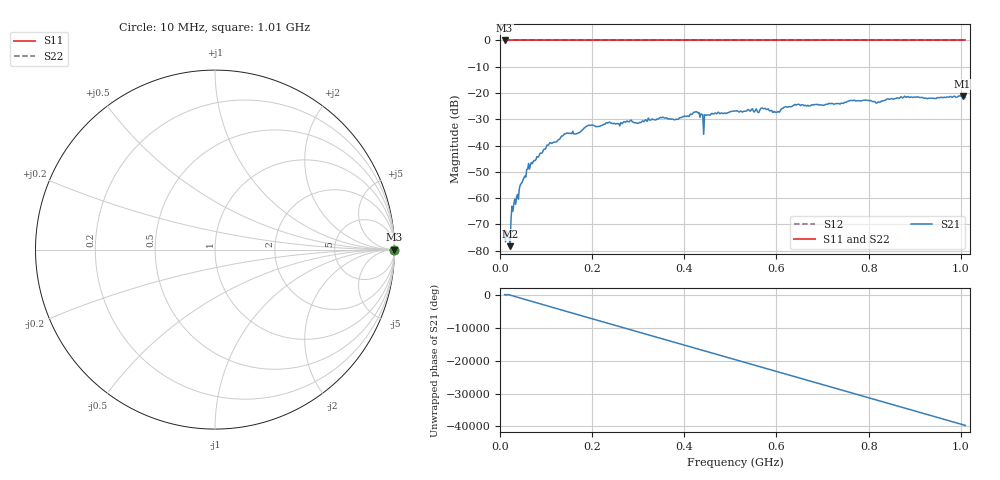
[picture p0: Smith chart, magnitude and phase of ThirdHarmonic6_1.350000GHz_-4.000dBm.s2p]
! 8/16/2025 3:11:17 PM
! C:\ANRITSUVNA\TEMP\TEMP.S2P
! CHANNEL.1
! TR.MEASUREMENT
! RAW.DATA
! RF.CORRECTION.OFF
! AVERAGING.OFF
! IF.BANDWIDTH: 5KHZ
! SWEEPTYPE:  FREQ.SWEEP(Linear)
! Reference Plane Port Info
! PORT:  PORT1  PORT2
! DISTANCE:  0  m  0  m
! TIME:  0  s  0  s
! PHASE.OFFSET:  0  deg.  0  deg.
! LOSS:  0  dB  0  dB
! REF.LOSS:  0  dB  0  dB
! REF.FREQ:  0  Hz  0  Hz
! Power Info
! POWER:  -20  dBm  -20  dBm
! EFF.POWER:  -20  dBm  -20  dBm
! SOURCE.ATTEN:  0  dB  0  dB
! TEST.ATTEN:  0  dB  0  dB
# GHZ S RI R 50.0
! FREQ.GHZ  S11RE  S11IM  S21RE  S21IM  S12RE  S12IM  S22RE  S22IM
!; PortSelection: Port_12
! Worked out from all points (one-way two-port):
!   501 points, 10 MHz to 1.01 GHz, reference 50 ohm
!   highest |S21| = -21.07 dB at 1.004 GHz (marker M1); lowest = -78.3 dB at 22 MHz (marker M2)
!   lowest |S11| = 0.0 dB at 10 MHz (marker M3)
!   |S11| at or under -10 dB: nowhere
!   |S22| runs from 0.0 to 0.0 dB; largest |S21 - S12| = 1.1
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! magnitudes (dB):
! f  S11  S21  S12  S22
! 10 MHz  0.0  -72.3  0.0  0.0
! 18 MHz  0.0  -75.0  0.0  0.0
! 22 MHz  0.0  -78.3  0.0  0.0
! 28 MHz  0.0  -65.0  0.0  0.0
! 64 MHz  0.0  -49.0  0.0  0.0
! 106 MHz  0.0  -39.6  0.0  0.0
! 142 MHz  0.0  -35.6  0.0  0.0
! 178 MHz  0.0  -34.1  0.0  0.0
! 196 MHz  0.0  -32.3  0.0  0.0
! 344 MHz  0.0  -29.9  0.0  0.0
! 382 MHz  0.0  -30.0  0.0  0.0
! 424 MHz  0.0  -27.2  0.0  0.0
! 446 MHz  0.0  -28.4  0.0  0.0
! 448 MHz  0.0  -28.5  0.0  0.0
! 510 MHz  0.0  -26.8  0.0  0.0
! 572 MHz  0.0  -26.0  0.0  0.0
! 602 MHz  0.0  -27.2  0.0  0.0
! 644 MHz  0.0  -24.5  0.0  0.0
! 678 MHz  0.0  -24.5  0.0  0.0
! 844 MHz  0.0  -22.4  0.0  0.0
! 1.004 GHz  0.0  -21.1  0.0  0.0
! 1.01 GHz  0.0  -21.7  0.0  0.0
